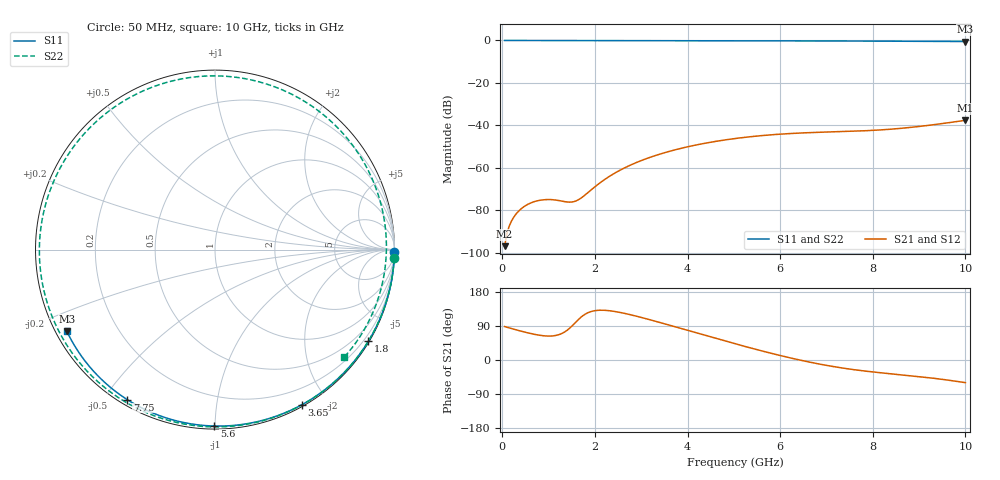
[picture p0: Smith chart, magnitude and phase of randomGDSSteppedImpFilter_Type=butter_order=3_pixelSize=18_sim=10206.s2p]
! freq	dB(S11)	phase(S11)	dB(S12)	phase(S12)
!  dB(S21)	phase(S21)	dB(S22)	phase(S22)
!S-par simulation data
#  GHz  S  DB  R 50
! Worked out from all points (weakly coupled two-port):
!   200 points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, 50 MHz to 10 GHz, reference 50 ohm
!   highest |S21| = -37.63 dB at 10 GHz (marker M1); lowest = -96.9 dB at 50 MHz (marker M2)
!   lowest |S11| = -0.5 dB at 10 GHz (marker M3), VSWR 33.87, Z = 1.57 - j12.9 ohm
!   |S11| at or under -10 dB: nowhere
!   |S22| runs from -0.6 to 0.0 dB; largest |S21 - S12| = 0
!   S11 on the Smith chart (normalised r, x): 50 MHz: open; 1.8 GHz: 0.03, -3.63; 3.65 GHz: 0.02, -1.70; 5.6 GHz: 0.02, -1.00; 7.75 GHz: 0.02, -0.57; 10 GHz: 0.03, -0.26
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0.05  -0.00 -0.9  -96.92 88.2  -96.92 88.2  -0.00 -2.8
0.35  -0.01 -6.1  -80.46 77.9  -80.46 77.9  -0.03 -19.3
0.65  -0.01 -11.2  -76.25 68.9  -76.25 68.9  -0.05 -35.5
0.95  -0.02 -16.4  -74.97 63.3  -74.97 63.3  -0.06 -51.4
1.5  -0.03 -25.8  -76.12 89.2  -76.12 89.2  -0.09 -79.3
1.75  -0.04 -30.0  -73.46 117.7  -73.46 117.7  -0.11 -91.3
1.8  -0.04 -30.8  -72.58 121.6  -72.58 121.6  -0.11 -93.7
2.15  -0.05 -36.6  -66.44 131.4  -66.44 131.4  -0.12 -109.8
2.5  -0.05 -42.4  -61.63 126.5  -61.63 126.5  -0.14 -125.3
2.95  -0.06 -49.7  -57.02 113.9  -57.02 113.9  -0.15 -144.3
3.4  -0.08 -56.9  -53.57 99.1  -53.57 99.1  -0.17 -162.6
3.65  -0.08 -60.9  -51.99 90.5  -51.99 90.5  -0.18 -172.5
4.35  -0.10 -71.7  -48.54 66.0  -48.54 66.0  -0.21 160.4
5.05  -0.13 -82.2  -46.14 42.1  -46.14 42.1  -0.24 133.6
5.6  -0.15 -90.3  -44.83 24.1  -44.83 24.1  -0.26 112.6
6.15  -0.18 -98.2  -43.94 7.5  -43.94 7.5  -0.28 91.7
6.7  -0.21 -105.9  -43.37 -7.2  -43.37 -7.2  -0.30 70.9
7.2  -0.24 -112.8  -43.02 -18.4  -43.02 -18.4  -0.32 52.2
7.75  -0.28 -120.4  -42.62 -28.0  -42.62 -28.0  -0.34 32.3
8.35  -0.33 -128.6  -41.88 -35.9  -41.88 -35.9  -0.37 11.5
9.1  -0.41 -138.7  -40.27 -45.2  -40.27 -45.2  -0.44 -12.9
10  -0.51 -151.1  -37.63 -59.8  -37.63 -59.8  -0.57 -39.7
